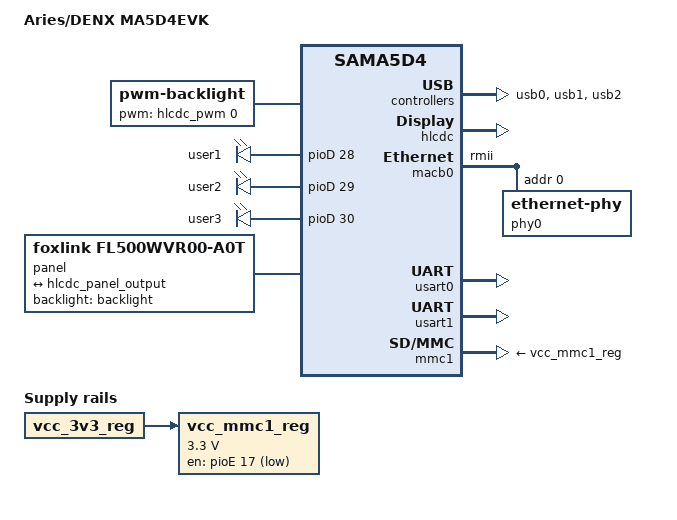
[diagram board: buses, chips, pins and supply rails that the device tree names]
/*
 * Copyright (C) 2015 Marek Vasut <marex@denx.de>
 *
 * The code contained herein is licensed under the GNU General Public
 * License. You may obtain a copy of the GNU General Public License
 * Version 2 or later at the following locations:
 *
 * http://www.opensource.org/licenses/gpl-license.html
 * http://www.gnu.org/copyleft/gpl.html
 */

/dts-v1/;
#include "at91-sama5d4_ma5d4.dtsi"

/ {
	model = "Aries/DENX MA5D4EVK";
	compatible = "aries,ma5d4evk", "denx,ma5d4evk", "atmel,sama5d4", "atmel,sama5";

	chosen {
		stdout-path = "serial3:115200n8";
	};

	ahb {
		usb0: gadget@400000 {
			atmel,vbus-gpio = <&pioE 31 GPIO_ACTIVE_HIGH>;
			pinctrl-names = "default";
			pinctrl-0 = <&pinctrl_usba_vbus>;
			status = "okay";
		};

		usb1: ohci@500000 {
			num-ports = <3>;
			atmel,vbus-gpio = <0
					   &pioE 11 GPIO_ACTIVE_LOW
					   &pioE 14 GPIO_ACTIVE_LOW
					  >;
			status = "okay";
		};

		usb2: ehci@600000 {
			status = "okay";
		};

		apb {
			hlcdc: hlcdc@f0000000 {
				status = "okay";

				hlcdc-display-controller {
					pinctrl-names = "default";
					pinctrl-0 = <&pinctrl_lcd_base &pinctrl_lcd_rgb888>;

					port@0 {
						hlcdc_panel_output: endpoint@0 {
							reg = <0>;
							remote-endpoint = <&panel_input>;
						};
					};
				};

			};

			macb0: ethernet@f8020000 {
				phy-mode = "rmii";
				status = "okay";

				phy0: ethernet-phy@0 {
					reg = <0>;
				};
			};

			usart0: serial@f802c000 {
				status = "okay";
			};

			usart1: serial@f8030000 {
				status = "okay";
			};

			mmc1: mmc@fc000000 {
				pinctrl-names = "default";
				pinctrl-0 = <&pinctrl_mmc1_clk_cmd_dat0 &pinctrl_mmc1_dat1_3 &pinctrl_mmc1_cd>;
				vmmc-supply = <&vcc_mmc1_reg>;
				vqmmc-supply = <&vcc_3v3_reg>;
				status = "okay";
				slot@0 {
					reg = <0>;
					bus-width = <4>;
					cd-gpios = <&pioE 5 0>;
				};
			};

			adc0: adc@fc034000 {
				atmel,adc-ts-wires = <4>;
				atmel,adc-ts-pressure-threshold = <10000>;
			};


			pinctrl@fc06a000 {
				board {
					pinctrl_mmc1_cd: mmc1_cd {
						atmel,pins = <AT91_PIOE 5 AT91_PERIPH_GPIO AT91_PINCTRL_PULL_UP_DEGLITCH>;
					};
					pinctrl_usba_vbus: usba_vbus {
						atmel,pins =
							<AT91_PIOE 31 AT91_PERIPH_GPIO AT91_PINCTRL_DEGLITCH>;
					};
				};
			};
		};
	};

	backlight: backlight {
		compatible = "pwm-backlight";
		pwms = <&hlcdc_pwm 0 50000 0>;
		brightness-levels = <0 4 8 16 32 64 128 255>;
		default-brightness-level = <6>;
		status = "okay";
	};

	leds {
		compatible = "gpio-leds";
		status = "okay";

		user1 {
			label = "user1";
			gpios = <&pioD 28 GPIO_ACTIVE_HIGH>;
			linux,default-trigger = "heartbeat";
		};

		user2 {
			label = "user2";
			gpios = <&pioD 29 GPIO_ACTIVE_HIGH>;
			linux,default-trigger = "heartbeat";
		};

		user3 {
			label = "user3";
			gpios = <&pioD 30 GPIO_ACTIVE_HIGH>;
			linux,default-trigger = "heartbeat";
		};
	};

	panel: panel {
		/* Actually Ampire 800480R2 */
		compatible = "foxlink,fl500wvr00-a0t", "simple-panel";
		backlight = <&backlight>;
		#address-cells = <1>;
		#size-cells = <0>;
		status = "okay";

		port@0 {
			#address-cells = <1>;
			#size-cells = <0>;

			panel_input: endpoint@0 {
				reg = <0>;
				remote-endpoint = <&hlcdc_panel_output>;
			};
		};
	};

	vcc_mmc1_reg: fixedregulator_mmc1 {
		compatible = "regulator-fixed";
		gpio = <&pioE 17 GPIO_ACTIVE_LOW>;
		regulator-name = "VDD MCI1";
		regulator-min-microvolt = <3300000>;
		regulator-max-microvolt = <3300000>;
		vin-supply = <&vcc_3v3_reg>;
	};
};
